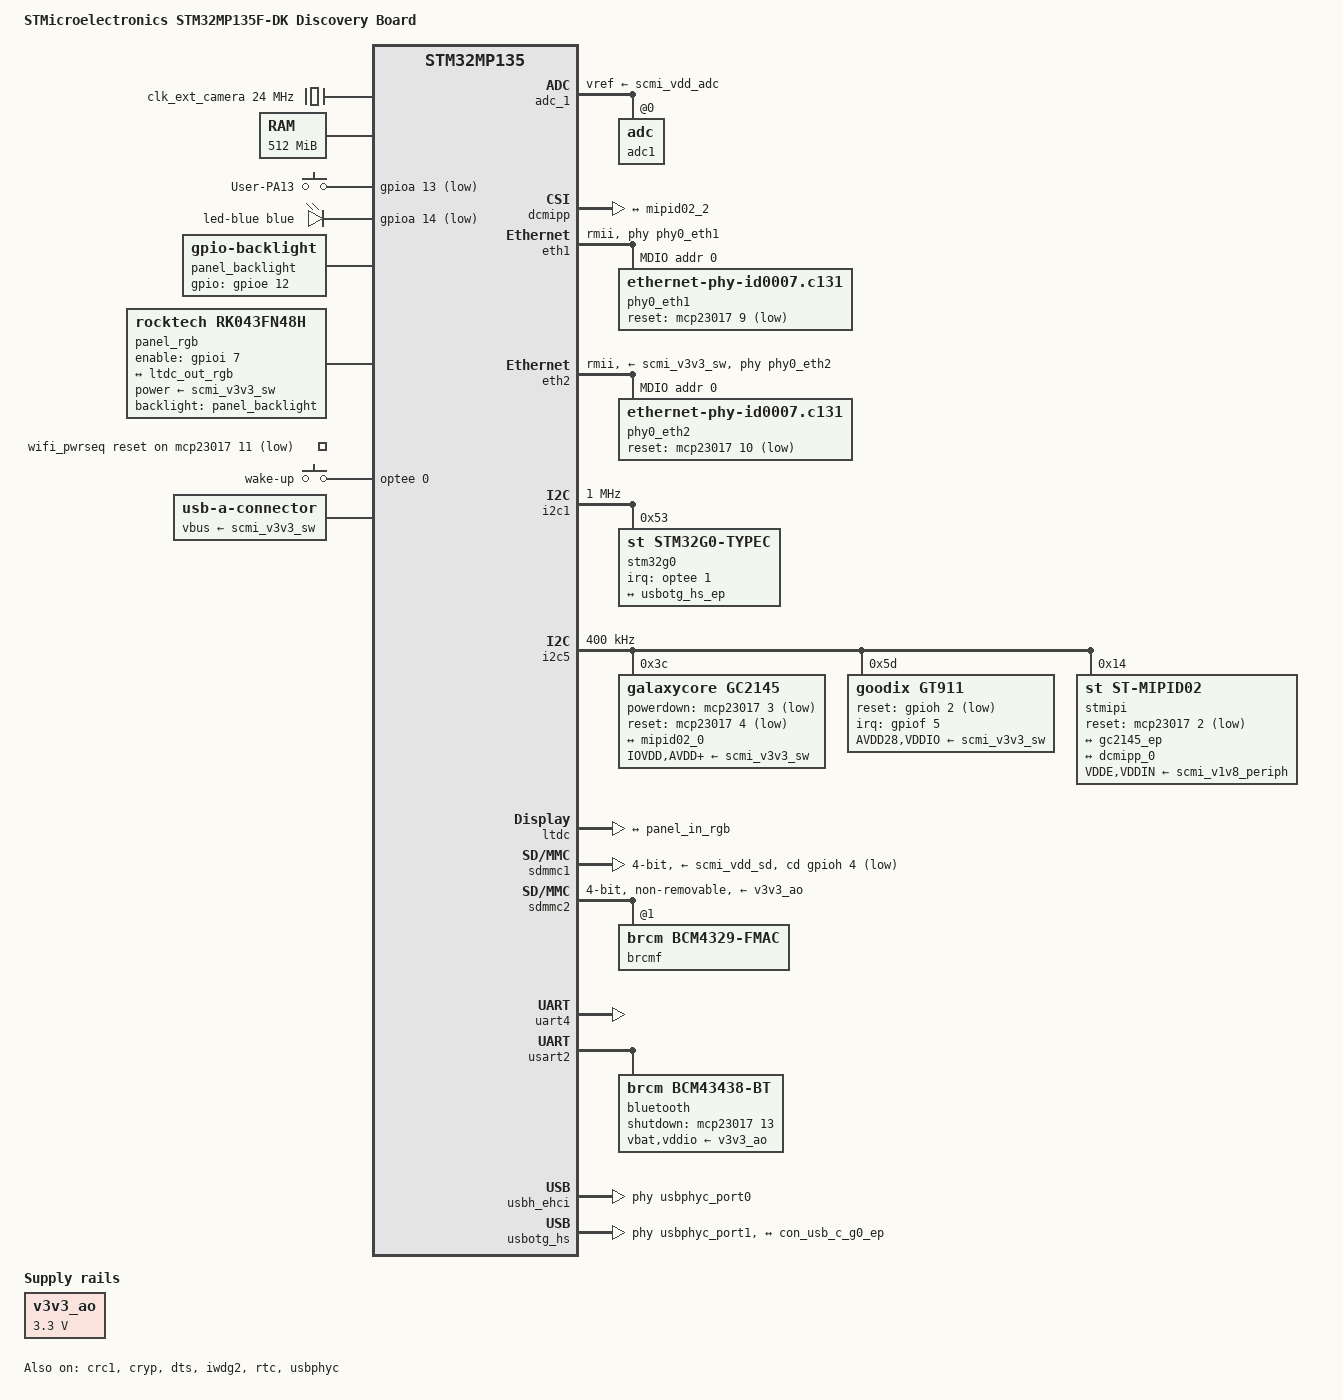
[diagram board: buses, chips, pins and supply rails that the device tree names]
// SPDX-License-Identifier: (GPL-2.0+ OR BSD-3-Clause)
/*
 * Copyright (C) STMicroelectronics 2021 - All Rights Reserved
 * Author: Alexandre Torgue <alexandre.torgue@foss.st.com> for STMicroelectronics.
 */

/dts-v1/;

#include <dt-bindings/gpio/gpio.h>
#include <dt-bindings/input/input.h>
#include <dt-bindings/leds/common.h>
#include <dt-bindings/rtc/rtc-stm32.h>
#include "stm32mp135.dtsi"
#include "stm32mp13xf.dtsi"
#include "stm32mp13-pinctrl.dtsi"

/ {
	model = "STMicroelectronics STM32MP135F-DK Discovery Board";
	compatible = "st,stm32mp135f-dk", "st,stm32mp135";

	aliases {
		ethernet0 = &eth1;
		ethernet1 = &eth2;
		serial0 = &uart4;
		serial1 = &usart1;
		serial2 = &uart8;
		serial3 = &usart2;
	};

	chosen {
		#address-cells = <1>;
		#size-cells = <1>;
		ranges;
		stdout-path = "serial0:115200n8";

		framebuffer {
			compatible = "simple-framebuffer";
			clocks = <&rcc LTDC_PX>;
			status = "disabled";
		};
	};

	clocks {
		clk_ext_camera: clk-ext-camera {
			#clock-cells = <0>;
			compatible = "fixed-clock";
			clock-frequency = <24000000>;
		};

		clk_mco1: clk-mco1 {
			#clock-cells = <0>;
			compatible = "fixed-clock";
			clock-frequency = <24000000>;
		};
	};

	memory@c0000000 {
		device_type = "memory";
		reg = <0xc0000000 0x20000000>;
	};

	gpio-keys {
		compatible = "gpio-keys";

		user-pa13 {
			label = "User-PA13";
			linux,code = <BTN_1>;
			gpios = <&gpioa 13 (GPIO_ACTIVE_LOW | GPIO_PULL_UP)>;
		};
	};

	leds {
		compatible = "gpio-leds";

		led-blue {
			function = LED_FUNCTION_HEARTBEAT;
			color = <LED_COLOR_ID_BLUE>;
			gpios = <&gpioa 14 GPIO_ACTIVE_LOW>;
			linux,default-trigger = "heartbeat";
			default-state = "off";
		};
	};

	reserved-memory {
		#address-cells = <1>;
		#size-cells = <1>;
		ranges;

		optee_framebuffer@dd000000 {
			reg = <0xdd000000 0x1000000>;
			no-map;
		};

		optee@de000000 {
			reg = <0xde000000 0x2000000>;
			no-map;
		};
	};

	v3v3_ao: v3v3_ao {
		compatible = "regulator-fixed";
		regulator-name = "v3v3_ao";
		regulator-min-microvolt = <3300000>;
		regulator-max-microvolt = <3300000>;
		regulator-always-on;
	};

	panel_backlight: panel-backlight {
		compatible = "gpio-backlight";
		gpios = <&gpioe 12 GPIO_ACTIVE_HIGH>;
		default-on;
		default-brightness-level = <0>;
		status = "okay";
	};

	panel_rgb: panel-rgb {
		compatible = "rocktech,rk043fn48h", "panel-dpi";
		enable-gpios = <&gpioi 7 GPIO_ACTIVE_HIGH>;
		backlight = <&panel_backlight>;
		power-supply = <&scmi_v3v3_sw>;
		data-mapping = "bgr666";
		status = "okay";

		width-mm = <105>;
		height-mm = <67>;

		port {
			panel_in_rgb: endpoint {
				remote-endpoint = <&ltdc_out_rgb>;
			};
		};

		panel-timing {
			clock-frequency = <10000000>;
			hactive = <480>;
			vactive = <272>;
			hsync-len = <52>;
			hfront-porch = <10>;
			hback-porch = <10>;
			vsync-len = <10>;
			vfront-porch = <10>;
			vback-porch = <10>;
			hsync-active = <0>;
			vsync-active = <0>;
			de-active = <1>;
			pixelclk-active = <1>;
		};
	};

	wifi_pwrseq: wifi-pwrseq {
		compatible = "mmc-pwrseq-simple";
		reset-gpios = <&mcp23017 11 GPIO_ACTIVE_LOW>;
	};

	wake_up {
		compatible = "gpio-keys";
		status = "okay";

		button {
			label = "wake-up";
			linux,code = <KEY_WAKEUP>;
			interrupts-extended = <&optee 0>;
			status = "okay";
		};
	};
};

&adc_1 {
	pinctrl-names = "default";
	pinctrl-0 = <&adc1_usb_cc_pins_a>;
	vdda-supply = <&scmi_vdd_adc>;
	vref-supply = <&scmi_vdd_adc>;
	status = "okay";
	adc1: adc@0 {
		status = "okay";
		/*
		 * Type-C USB_PWR_CC1 & USB_PWR_CC2 on in6 & in12.
		 * Use at least 5 * RC time, e.g. 5 * (Rp + Rd) * C:
		 * 5 * (5.1 + 47kOhms) * 5pF => 1.3us.
		 * Use arbitrary margin here (e.g. 5us).
		 */
		channel@6 {
			reg = <6>;
			st,min-sample-time-ns = <5000>;
		};
		channel@12 {
			reg = <12>;
			st,min-sample-time-ns = <5000>;
		};
	};
};

&crc1 {
	status = "okay";
};

&cryp {
	status = "okay";
};

&dcmipp {
	status = "okay";
	pinctrl-names = "default", "sleep";
	pinctrl-0 = <&dcmipp_pins_a>;
	pinctrl-1 = <&dcmipp_sleep_pins_a>;
	port {
		dcmipp_0: endpoint {
			remote-endpoint = <&mipid02_2>;
			bus-width = <8>;
			hsync-active = <0>;
			vsync-active = <0>;
			pclk-sample = <0>;
			pclk-max-frequency = <120000000>;
		};
	};
};

&dma1 {
	sram = <&dma_pool>;
};

&dma2 {
	sram = <&dma_pool>;
};

&dts {
	status = "okay";
};

&eth1 {
	status = "okay";
	pinctrl-0 = <&eth1_rmii_pins_a>;
	pinctrl-1 = <&eth1_rmii_sleep_pins_a>;
	pinctrl-names = "default", "sleep";
	phy-mode = "rmii";
	max-speed = <100>;
	phy-handle = <&phy0_eth1>;
	nvmem-cells = <&ethernet_mac1_address>;
	nvmem-cell-names = "mac-address";

	mdio1 {
		#address-cells = <1>;
		#size-cells = <0>;
		compatible = "snps,dwmac-mdio";

		phy0_eth1: ethernet-phy@0 {
			compatible = "ethernet-phy-id0007.c131";
			reset-gpios =  <&mcp23017 9 GPIO_ACTIVE_LOW>;
			reg = <0>;
			wakeup-source;
		};
	};
};

&eth2 {
	status = "okay";
	pinctrl-0 = <&eth2_rmii_pins_a>;
	pinctrl-1 = <&eth2_rmii_sleep_pins_a>;
	pinctrl-names = "default", "sleep";
	phy-mode = "rmii";
	max-speed = <100>;
	phy-handle = <&phy0_eth2>;
	st,ext-phyclk;
	phy-supply = <&scmi_v3v3_sw>;
	nvmem-cells = <&ethernet_mac2_address>;
	nvmem-cell-names = "mac-address";

	mdio1 {
		#address-cells = <1>;
		#size-cells = <0>;
		compatible = "snps,dwmac-mdio";
		phy0_eth2: ethernet-phy@0 {
			compatible = "ethernet-phy-id0007.c131";
			reset-gpios = <&mcp23017 10 GPIO_ACTIVE_LOW>;
			reg = <0>;
		};
	};
};

&i2c1 {
	pinctrl-names = "default", "sleep";
	pinctrl-0 = <&i2c1_pins_a>;
	pinctrl-1 = <&i2c1_sleep_pins_a>;
	i2c-scl-rising-time-ns = <96>;
	i2c-scl-falling-time-ns = <3>;
	clock-frequency = <1000000>;
	status = "okay";
	/* spare dmas for other usage */
	/delete-property/dmas;
	/delete-property/dma-names;

	mcp23017: pinctrl@21 {
		compatible = "microchip,mcp23017";
		reg = <0x21>;
		gpio-controller;
		#gpio-cells = <2>;
		interrupts = <12 IRQ_TYPE_LEVEL_LOW>;
		interrupt-parent = <&gpiog>;
		pinctrl-names = "default";
		pinctrl-0 = <&mcp23017_pins_a>;
		interrupt-controller;
		#interrupt-cells = <2>;
		microchip,irq-mirror;
	};

	stm32g0@53 {
		compatible = "st,stm32g0-typec";
		reg = <0x53>;
		/* Alert pin on PI2 (PWR wakeup pin), managed by optee */
		interrupts-extended = <&optee 1>;
		firmware-name = "stm32g0-ucsi.mp135f-dk.fw";
		wakeup-source;
		connector {
			compatible = "usb-c-connector";
			label = "USB-C";

			port {
				con_usb_c_g0_ep: endpoint {
					remote-endpoint = <&usbotg_hs_ep>;
				};
			};
		};
	};
};

&i2c5 {
	pinctrl-names = "default", "sleep";
	pinctrl-0 = <&i2c5_pins_a>;
	pinctrl-1 = <&i2c5_sleep_pins_a>;
	i2c-scl-rising-time-ns = <170>;
	i2c-scl-falling-time-ns = <5>;
	clock-frequency = <400000>;
	status = "okay";
	/* spare dmas for other usage */
	/delete-property/dmas;
	/delete-property/dma-names;

	gc2145: gc2145@3c {
		compatible = "galaxycore,gc2145";
		reg = <0x3c>;
		clocks = <&clk_ext_camera>;
		IOVDD-supply = <&scmi_v3v3_sw>;
		AVDD-supply = <&scmi_v3v3_sw>;
		DVDD-supply = <&scmi_v3v3_sw>;
		powerdown-gpios = <&mcp23017 3 (GPIO_ACTIVE_LOW | GPIO_PUSH_PULL)>;
		reset-gpios = <&mcp23017 4 (GPIO_ACTIVE_LOW | GPIO_PUSH_PULL)>;
		status = "okay";

		port {
			gc2145_ep: endpoint {
				remote-endpoint = <&mipid02_0>;
				clock-lanes = <0>;
				data-lanes = <1 2>;
			};
		};
	};

	goodix: goodix_ts@5d {
		compatible = "goodix,gt911";
		reg = <0x5d>;
		pinctrl-names = "default";
		pinctrl-0 = <&goodix_pins_a>;
		interrupt-parent = <&gpiof>;
		interrupts = <5 IRQ_TYPE_EDGE_FALLING>;
		reset-gpios = <&gpioh 2 GPIO_ACTIVE_LOW>;
		AVDD28-supply = <&scmi_v3v3_sw>;
		VDDIO-supply = <&scmi_v3v3_sw>;
		touchscreen-size-x = <480>;
		touchscreen-size-y = <272>;
		status = "okay";
	};

	ov5640: camera@3c {
		compatible = "ovti,ov5640";
		reg = <0x3c>;
		clocks = <&clk_ext_camera>;
		clock-names = "xclk";
		DOVDD-supply = <&scmi_v3v3_sw>;
		status = "disabled";
		powerdown-gpios = <&mcp23017 3 (GPIO_ACTIVE_LOW | GPIO_PUSH_PULL)>;
		reset-gpios = <&mcp23017 4 (GPIO_ACTIVE_LOW | GPIO_PUSH_PULL)>;

		port {
			ov5640_0: endpoint {
				clock-lanes = <0>;
				data-lanes = <1 2>;
			};
		};
	};

	stmipi: stmipi@14 {
		compatible = "st,st-mipid02";
		reg = <0x14>;
		status = "okay";
		clocks = <&clk_mco1>;
		clock-names = "xclk";
		VDDE-supply = <&scmi_v1v8_periph>;
		VDDIN-supply = <&scmi_v1v8_periph>;
		reset-gpios = <&mcp23017 2 (GPIO_ACTIVE_LOW | GPIO_PUSH_PULL)>;

		ports {
			#address-cells = <1>;
			#size-cells = <0>;
			port@0 {
				reg = <0>;

				mipid02_0: endpoint {
					data-lanes = <1 2>;
					lane-polarities = <0 0 0>;
					remote-endpoint = <&gc2145_ep>;
				};
			};
			port@2 {
				reg = <2>;

				mipid02_2: endpoint {
					bus-width = <8>;
					hsync-active = <0>;
					vsync-active = <0>;
					pclk-sample = <0>;
					remote-endpoint = <&dcmipp_0>;
				};
			};
		};
	};
};

&iwdg2 {
	timeout-sec = <32>;
	status = "okay";
};

&ltdc {
	pinctrl-names = "default", "sleep";
	pinctrl-0 = <&ltdc_pins_a>;
	pinctrl-1 = <&ltdc_sleep_pins_a>;
	status = "okay";

	port {
		#address-cells = <1>;
		#size-cells = <0>;

		ltdc_out_rgb: endpoint@0 {
			reg = <0>;
			remote-endpoint = <&panel_in_rgb>;
		};
	};
};

&rtc {
	st,lsco = <RTC_OUT2_RMP>;
	pinctrl-0 = <&rtc_out2_rmp_pins_a>;
	pinctrl-names = "default";
	status = "okay";
};

&scmi_regu {
	scmi_vddcpu: voltd-vddcpu {
		voltd-name = "vddcpu";
		regulator-name = "vddcpu";
	};
	scmi_vdd: voltd-vdd {
		voltd-name = "vdd";
		regulator-name = "vdd";
	};
	scmi_vddcore: voltd-vddcore {
		voltd-name = "vddcore";
		regulator-name = "vddcore";
	};
	scmi_vdd_adc: voltd-vdd_adc {
		voltd-name = "vdd_adc";
		regulator-name = "vdd_adc";
	};
	scmi_vdd_usb: voltd-vdd_usb {
		voltd-name = "vdd_usb";
		regulator-name = "vdd_usb";
	};
	scmi_vdd_sd: voltd-vdd_sd {
		voltd-name = "vdd_sd";
		regulator-name = "vdd_sd";
	};
	scmi_v1v8_periph: voltd-v1v8_periph {
		voltd-name = "v1v8_periph";
		regulator-name = "v1v8_periph";
	};
	scmi_v3v3_sw: voltd-v3v3_sw {
		voltd-name = "v3v3_sw";
		regulator-name = "v3v3_sw";
	};
};

&sdmmc1 {
	pinctrl-names = "default", "opendrain", "sleep";
	pinctrl-0 = <&sdmmc1_b4_pins_a &sdmmc1_clk_pins_a>;
	pinctrl-1 = <&sdmmc1_b4_od_pins_a &sdmmc1_clk_pins_a>;
	pinctrl-2 = <&sdmmc1_b4_sleep_pins_a>;
	cd-gpios = <&gpioh 4 (GPIO_ACTIVE_LOW | GPIO_PULL_UP)>;
	disable-wp;
	st,neg-edge;
	bus-width = <4>;
	vmmc-supply = <&scmi_vdd_sd>;
	status = "okay";
};

/* Wifi */
&sdmmc2 {
	pinctrl-names = "default", "opendrain", "sleep";
	pinctrl-0 = <&sdmmc2_b4_pins_a &sdmmc2_clk_pins_a>;
	pinctrl-1 = <&sdmmc2_b4_od_pins_a &sdmmc2_clk_pins_a>;
	pinctrl-2 = <&sdmmc2_b4_sleep_pins_a>;
	non-removable;
	st,neg-edge;
	bus-width = <4>;
	vmmc-supply = <&v3v3_ao>;
	mmc-pwrseq = <&wifi_pwrseq>;
	#address-cells = <1>;
	#size-cells = <0>;
	status = "okay";

	brcmf: bcrmf@1 {
		reg = <1>;
		compatible = "brcm,bcm4329-fmac";
	};
};

&spi5 {
	pinctrl-names = "default", "sleep";
	pinctrl-0 = <&spi5_pins_a>;
	pinctrl-1 = <&spi5_sleep_pins_a>;
	status = "disabled";
};

&sram {
	dma_pool: dma-sram@0 {
		reg = <0x0 0x4000>;
		pool;
	};
};

&timers3 {
	/delete-property/dmas;
	/delete-property/dma-names;
	status = "disabled";
	pwm {
		pinctrl-0 = <&pwm3_pins_a>;
		pinctrl-1 = <&pwm3_sleep_pins_a>;
		pinctrl-names = "default", "sleep";
		status = "okay";
	};
	timer@2 {
		status = "okay";
	};
};

&timers4 {
	/delete-property/dmas;
	/delete-property/dma-names;
	status = "disabled";
	pwm {
		pinctrl-0 = <&pwm4_pins_a>;
		pinctrl-1 = <&pwm4_sleep_pins_a>;
		pinctrl-names = "default", "sleep";
		status = "okay";
	};
	timer@3 {
		status = "okay";
	};
};

&timers8 {
	/delete-property/dmas;
	/delete-property/dma-names;
	status = "disabled";
	pwm {
		pinctrl-0 = <&pwm8_pins_a>;
		pinctrl-1 = <&pwm8_sleep_pins_a>;
		pinctrl-names = "default", "sleep";
		status = "okay";
	};
	timer@7 {
		status = "okay";
	};
};

&timers14 {
	status = "disabled";
	pwm {
		pinctrl-0 = <&pwm14_pins_a>;
		pinctrl-1 = <&pwm14_sleep_pins_a>;
		pinctrl-names = "default", "sleep";
		status = "okay";
	};
	timer@13 {
		status = "okay";
	};
};

&uart4 {
	pinctrl-names = "default", "sleep", "idle";
	pinctrl-0 = <&uart4_pins_a>;
	pinctrl-1 = <&uart4_sleep_pins_a>;
	pinctrl-2 = <&uart4_idle_pins_a>;
	/delete-property/dmas;
	/delete-property/dma-names;
	status = "okay";
};

&uart8 {
	pinctrl-names = "default", "sleep", "idle";
	pinctrl-0 = <&uart8_pins_a>;
	pinctrl-1 = <&uart8_sleep_pins_a>;
	pinctrl-2 = <&uart8_idle_pins_a>;
	/delete-property/dmas;
	/delete-property/dma-names;
	status = "disabled";
};

&usart1 {
	pinctrl-names = "default", "sleep", "idle";
	pinctrl-0 = <&usart1_pins_a>;
	pinctrl-1 = <&usart1_sleep_pins_a>;
	pinctrl-2 = <&usart1_idle_pins_a>;
	uart-has-rtscts;
	status = "disabled";
};

/* Bluetooth */
&usart2 {
	pinctrl-names = "default", "sleep", "idle";
	pinctrl-0 = <&usart2_pins_a>;
	pinctrl-1 = <&usart2_sleep_pins_a>;
	pinctrl-2 = <&usart2_idle_pins_a>;
	uart-has-rtscts;
	status = "okay";

	bluetooth {
		shutdown-gpios = <&mcp23017 13 GPIO_ACTIVE_HIGH>;
		compatible = "brcm,bcm43438-bt";
		max-speed = <3000000>;
		vbat-supply = <&v3v3_ao>;
		vddio-supply = <&v3v3_ao>;
	};
};

&usbh_ehci {
	phys = <&usbphyc_port0>;
	status = "okay";
};

&usbotg_hs {
	phys = <&usbphyc_port1 0>;
	phy-names = "usb2-phy";
	usb-role-switch;
	status = "okay";
	port {
		usbotg_hs_ep: endpoint {
			remote-endpoint = <&con_usb_c_g0_ep>;
		};
	};
};

&usbphyc {
	status = "okay";
};

&usbphyc_port0 {
	phy-supply = <&scmi_vdd_usb>;
	st,current-boost-microamp = <1000>;
	st,decrease-hs-slew-rate;
	st,tune-hs-dc-level = <2>;
	st,enable-hs-rftime-reduction;
	st,trim-hs-current = <11>;
	st,trim-hs-impedance = <2>;
	st,tune-squelch-level = <1>;
	st,enable-hs-rx-gain-eq;
	st,no-hs-ftime-ctrl;
	st,no-lsfs-sc;

	/*
	 * Hack to keep hub active if wakeup source is enabled
	 * otherwise the hub will wakeup the port0 as soon as the v3v3_sw is disabled
	 */
	connector {
		compatible = "usb-a-connector";
		vbus-supply = <&scmi_v3v3_sw>;
	};
};

&usbphyc_port1 {
	phy-supply = <&scmi_vdd_usb>;
	st,current-boost-microamp = <1000>;
	st,decrease-hs-slew-rate;
	st,tune-hs-dc-level = <2>;
	st,enable-hs-rftime-reduction;
	st,trim-hs-current = <11>;
	st,trim-hs-impedance = <2>;
	st,tune-squelch-level = <1>;
	st,enable-hs-rx-gain-eq;
	st,no-hs-ftime-ctrl;
	st,no-lsfs-sc;
};
